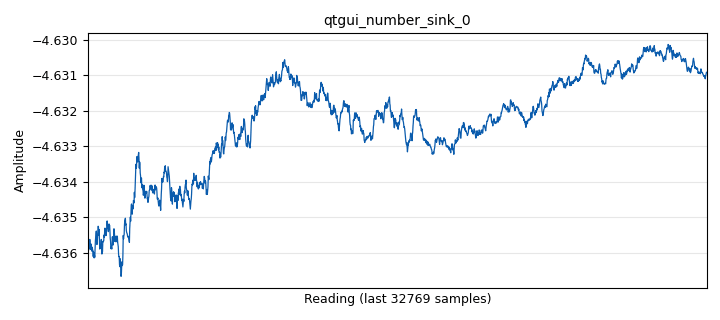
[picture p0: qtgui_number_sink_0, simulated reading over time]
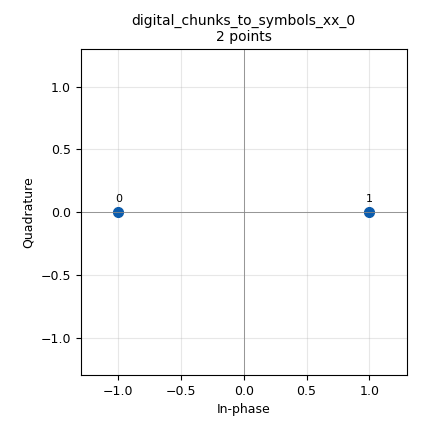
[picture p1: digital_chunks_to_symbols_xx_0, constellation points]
options:
  parameters:
    generate_options: qt_gui
    id: lab4
    output_language: python
    title: Lab 4
  states: {}

blocks:
- name: constel
  id: variable
  parameters:
    value: digital.constellation_bpsk().base()
  states: {}
- name: eb_n0_db
  id: variable
  parameters:
    value: '5'
  states: {}
- name: noise_amp
  id: variable
  parameters:
    value: 1/math.sqrt(2 * 10**(eb_n0_db/10))
  states: {}
- name: samp_rate
  id: variable
  parameters:
    value: '32000'
  states: {}
- name: analog_noise_source_x_0
  id: analog_noise_source_x
  parameters:
    amp: noise_amp
    noise_type: analog.GR_GAUSSIAN
    seed: '0'
    type: complex
  states: {}
- name: analog_random_source_x_0
  id: analog_random_source_x
  parameters:
    max: '1'
    min: '0'
    num_samps: '1000'
    repeat: 'True'
    type: byte
  states: {}
- name: blocks_add_xx_0
  id: blocks_add_xx
  parameters:
    type: complex
  states: {}
- name: blocks_unpack_k_bits_bb_0
  id: blocks_unpack_k_bits_bb
  parameters:
    k: '1'
  states: {}
- name: digital_chunks_to_symbols_xx_0
  id: digital_chunks_to_symbols_xx
  parameters:
    dimension: '1'
    in_type: byte
    out_type: complex
    symbol_table: constel.points()
  states: {}
- name: digital_constellation_decoder_cb_0
  id: digital_constellation_decoder_cb
  parameters:
    constellation: constel
  states: {}
- name: fec_ber_bf_0
  id: fec_ber_bf
  parameters:
    test_mode: 'False'
  states: {}
- name: import_0
  id: import
  parameters:
    imports: import math
  states: {}
- name: import_1
  id: import
  parameters:
    imports: from gnuradio import digital
  states: {}
- name: qtgui_number_sink_0
  id: qtgui_number_sink
  parameters:
    graph_type: qtgui.NUM_GRAPH_HORIZ
    type: float
  states: {}

connections:
- [analog_noise_source_x_0, '0', blocks_add_xx_0, '1']
- [analog_random_source_x_0, '0', blocks_unpack_k_bits_bb_0, '0']
- [blocks_add_xx_0, '0', digital_constellation_decoder_cb_0, '0']
- [blocks_unpack_k_bits_bb_0, '0', digital_chunks_to_symbols_xx_0, '0']
- [blocks_unpack_k_bits_bb_0, '0', fec_ber_bf_0, '0']
- [digital_chunks_to_symbols_xx_0, '0', blocks_add_xx_0, '0']
- [digital_constellation_decoder_cb_0, '0', fec_ber_bf_0, '1']
- [fec_ber_bf_0, '0', qtgui_number_sink_0, '0']

metadata:
  file_format: 1
  grc_version: 3.10.12.0
